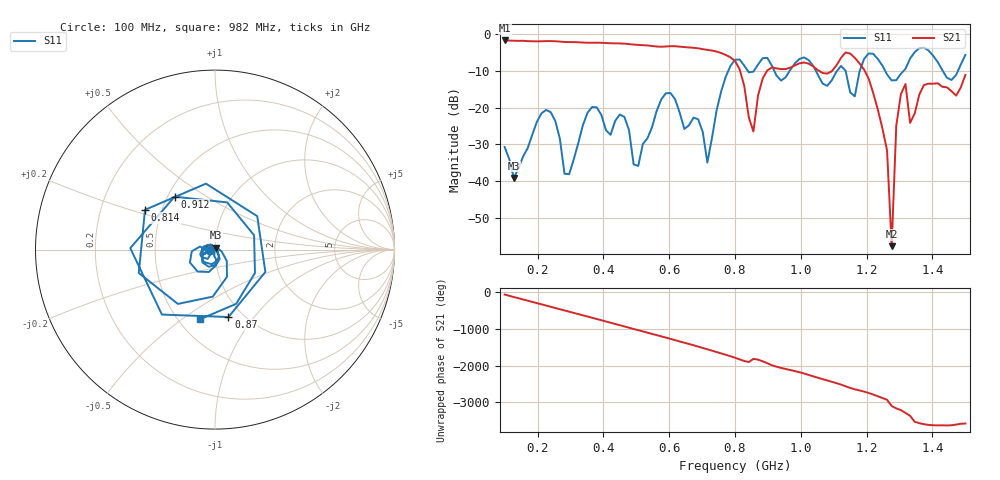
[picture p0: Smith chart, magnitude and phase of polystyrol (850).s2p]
! NanoVNA-App
! Date: 2025-09-25 15:36:30
! Start: 100MHz Stop: 1,5GHz Points: 101
! S-Parameter data: F S11 S21 S12 S22
# Hz S RI R 50
!  Frequency  S11_Real  S11_Imag  S21_Real  S21_Imag  S12_Real  S12_Imag  S22_Real  S22_Imag
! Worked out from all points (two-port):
!   101 points, 100 MHz to 1.5 GHz, reference 50 ohm
!   highest |S21| = -1.80 dB at 100 MHz (marker M1); lowest = -57.6 dB at 1.276 GHz (marker M2)
!   |S21| within 3 dB of the highest: start of sweep to 743.1 MHz
!   lowest |S11| = -39.1 dB at 128 MHz (marker M3), VSWR 1.02, Z = 50.3 + j1.06 ohm
!   |S11| at or under -10 dB: start of sweep to 779.8 MHz; 1.045 GHz to 1.111 GHz (65.25 MHz wide, 6.05 % of centre); 1.136 GHz to 1.179 GHz (43.46 MHz wide, 3.75 % of centre) (the widest 3 of 7)
!   S12 and S22 are empty: the file has one direction only
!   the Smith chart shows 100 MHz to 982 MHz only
!   S11 on the Smith chart (normalised r, x): 100 MHz: 0.94, -0.01; 814 MHz: 0.40, +0.22; 870 MHz: 0.86, -0.75; 912 MHz: 0.54, +0.37; 982 MHz: 0.63, -0.59
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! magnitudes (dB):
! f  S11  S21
! 100 MHz  -30.7  -1.8
! 128 MHz  -39.1  -1.9
! 212 MHz  -21.6  -2.0
! 282 MHz  -38.0  -2.2
! 338 MHz  -24.7  -2.4
! 506 MHz  -35.9  -3.0
! 576 MHz  -17.8  -3.5
! 716 MHz  -34.9  -4.3
! 800 MHz  -7.0  -7.4
! 814 MHz  -7.0  -9.6
! 856 MHz  -10.3  -26.5
! 870 MHz  -8.3  -16.7
! 912 MHz  -8.6  -9.1
! 982 MHz  -8.0  -8.6
! 1.038 GHz  -8.7  -8.9
! 1.164 GHz  -17.0  -6.5
! 1.206 GHz  -5.3  -12.1
! 1.262 GHz  -11.0  -31.6
! 1.276 GHz  -12.6  -57.6
! 1.29 GHz  -12.6  -24.9
! 1.304 GHz  -10.8  -16.4
! 1.5 GHz  -5.7  -11.2
